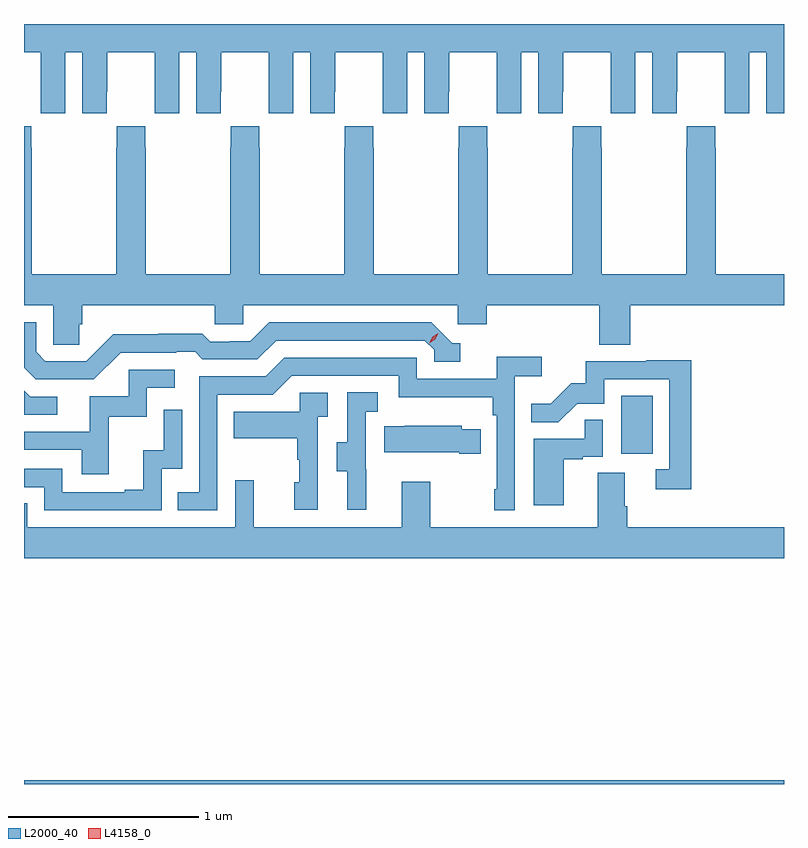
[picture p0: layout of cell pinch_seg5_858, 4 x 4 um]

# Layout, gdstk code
import gdstk
lib = gdstk.Library(unit=1e-6, precision=1e-09)
def R(c, l, rs):  # rectangles x0, y0, x1, y1
    for r in rs: c.add(gdstk.rectangle(r[:2], r[2:], *l))
def P(c, l, *ps):  # polygons
    for p in ps: c.add(gdstk.Polygon(p, *l))
L2000_40 = (2000, 40)
L4158_0 = (4158, 0)

pinch_seg5_858 = lib.new_cell('pinch_seg5_858')
R(pinch_seg5_858, L2000_40, [(852.638,884.877,856.638,884.896), (855.782,886.614,855.946,886.921)])
P(pinch_seg5_858, L2000_40, [(852.638,888.728),(852.725,888.728),(852.725,888.52),(852.726,888.52),(852.726,888.408),(852.856,888.408),(852.856,888.728),(852.944,888.728),(852.944,888.408),(853.074,888.408),(853.074,888.52),(853.075,888.52),(853.075,888.728),(853.325,888.728),(853.325,888.52),(853.326,888.52),(853.326,888.408),(853.456,888.408),(853.456,888.728),(853.544,888.728),(853.544,888.408),(853.674,888.408),(853.674,888.52),(853.675,888.52),(853.675,888.728),(853.925,888.728),(853.925,888.52),(853.926,888.52),(853.926,888.408),(854.056,888.408),(854.056,888.728),(854.144,888.728),(854.144,888.408),(854.274,888.408),(854.274,888.52),(854.275,888.52),(854.275,888.728),(854.525,888.728),(854.525,888.52),(854.526,888.52),(854.526,888.408),(854.656,888.408),(854.656,888.728),(854.744,888.728),(854.744,888.408),(854.874,888.408),(854.874,888.52),(854.875,888.52),(854.875,888.728),(855.125,888.728),(855.125,888.52),(855.126,888.52),(855.126,888.408),(855.256,888.408),(855.256,888.728),(855.344,888.728),(855.344,888.408),(855.474,888.408),(855.474,888.52),(855.475,888.52),(855.475,888.728),(855.725,888.728),(855.725,888.52),(855.726,888.52),(855.726,888.408),(855.856,888.408),(855.856,888.728),(855.944,888.728),(855.944,888.408),(856.074,888.408),(856.074,888.52),(856.075,888.52),(856.075,888.728),(856.325,888.728),(856.325,888.52),(856.326,888.52),(856.326,888.408),(856.456,888.408),(856.456,888.728),(856.544,888.728),(856.544,888.408),(856.638,888.408),(856.638,888.877),(852.638,888.877)],
  [(852.929,887.298),(852.944,887.298),(852.944,887.396),(853.641,887.396),(853.641,887.298),(853.791,887.298),(853.791,887.396),(854.922,887.396),(854.922,887.298),(855.074,887.298),(855.074,887.396),(855.665,887.396),(855.665,887.188),(855.83,887.188),(855.83,887.396),(856.638,887.396),(856.638,887.56),(856.278,887.56),(856.278,888.227),(856.275,888.227),(856.275,888.34),(856.125,888.34),(856.125,888.227),(856.123,888.227),(856.123,887.56),(855.678,887.56),(855.678,888.227),(855.675,888.227),(855.675,888.34),(855.525,888.34),(855.525,888.227),(855.523,888.227),(855.523,887.56),(855.078,887.56),(855.078,888.227),(855.075,888.227),(855.075,888.34),(854.925,888.34),(854.925,888.227),(854.923,888.227),(854.923,887.56),(854.478,887.56),(854.478,888.227),(854.475,888.227),(854.475,888.34),(854.325,888.34),(854.325,888.227),(854.323,888.227),(854.323,887.56),(853.878,887.56),(853.878,888.227),(853.875,888.227),(853.875,888.34),(853.725,888.34),(853.725,888.227),(853.723,888.227),(853.723,887.56),(853.278,887.56),(853.278,888.227),(853.275,888.227),(853.275,888.34),(853.125,888.34),(853.125,888.227),(853.123,888.227),(853.123,887.56),(852.678,887.56),(852.678,888.227),(852.675,888.227),(852.675,888.34),(852.638,888.34),(852.638,887.396),(852.792,887.396),(852.792,887.188),(852.929,887.188)],
  [(853.146,887.148),(853.439,887.148),(853.439,887.151),(853.538,887.151),(853.577,887.112),(853.866,887.112),(853.965,887.211),(854.748,887.211),(854.796,887.163),(854.796,887.1),(854.935,887.1),(854.935,887.196),(854.892,887.196),(854.781,887.307),(853.928,887.307),(853.829,887.208),(853.722,887.208),(853.722,887.205),(853.619,887.205),(853.577,887.248),(853.344,887.248),(853.344,887.245),(853.108,887.245),(852.966,887.103),(852.75,887.103),(852.702,887.151),(852.702,887.307),(852.638,887.307),(852.638,887.068),(852.699,887.007),(853.005,887.007)],
  [(853.656,886.926),(853.947,886.926),(854.046,887.025),(854.61,887.025),(854.61,886.913),(855.106,886.913),(855.106,886.817),(855.126,886.817),(855.126,886.429),(855.114,886.429),(855.114,886.317),(855.222,886.317),(855.222,887.024),(855.364,887.024),(855.364,887.126),(855.125,887.126),(855.125,887.01),(854.706,887.01),(854.706,887.121),(854.009,887.121),(853.91,887.022),(853.56,887.022),(853.56,886.413),(853.447,886.413),(853.447,886.317),(853.656,886.317)],
  [(856.151,887.108),(855.913,887.108),(855.913,887.103),(855.595,887.103),(855.595,886.986),(855.518,886.986),(855.411,886.879),(855.307,886.879),(855.307,886.78),(855.451,886.78),(855.549,886.878),(855.693,886.878),(855.693,887.007),(856.035,887.007),(856.035,886.533),(855.963,886.533),(855.963,886.428),(856.151,886.428)],
  [(853.085,886.809),(853.284,886.809),(853.284,886.962),(853.432,886.962),(853.432,887.058),(853.188,887.058),(853.188,886.917),(852.983,886.917),(852.983,886.731),(852.638,886.731),(852.638,886.635),(852.941,886.635),(852.941,886.506),(853.085,886.506)],
  [(852.814,886.914),(852.672,886.914),(852.638,886.948),(852.638,886.821),(852.814,886.821)],
  [(854.438,886.533),(854.436,886.533),(854.436,886.837),(854.5,886.837),(854.5,886.94),(854.34,886.94),(854.34,886.677),(854.285,886.677),(854.285,886.522),(854.339,886.522),(854.339,886.32),(854.438,886.32)],
  [(854.184,886.811),(854.236,886.811),(854.236,886.935),(854.088,886.935),(854.088,886.837),(853.741,886.837),(853.741,886.697),(854.076,886.697),(854.076,886.583),(854.086,886.583),(854.086,886.464),(854.06,886.464),(854.06,886.32),(854.184,886.32)],
  [(853.362,886.536),(853.47,886.536),(853.47,886.846),(853.374,886.846),(853.374,886.634),(853.265,886.634),(853.265,886.426),(853.169,886.426),(853.169,886.413),(852.84,886.413),(852.84,886.536),(852.638,886.536),(852.638,886.44),(852.744,886.44),(852.744,886.317),(853.362,886.317)],
  [(855.478,886.587),(855.578,886.587),(855.578,886.599),(855.684,886.599),(855.684,886.793),(855.589,886.793),(855.589,886.695),(855.32,886.695),(855.32,886.344),(855.478,886.344)],
  [(855.041,886.744),(854.943,886.744),(854.943,886.762),(854.641,886.762),(854.641,886.759),(854.533,886.759),(854.533,886.622),(854.93,886.622),(854.93,886.615),(855.041,886.615)],
  [(856.638,886.228),(855.812,886.228),(855.812,886.34),(855.799,886.34),(855.799,886.514),(855.659,886.514),(855.659,886.228),(854.775,886.228),(854.775,886.468),(854.627,886.468),(854.627,886.228),(853.847,886.228),(853.847,886.477),(853.749,886.477),(853.749,886.228),(852.654,886.228),(852.654,886.355),(852.638,886.355),(852.638,886.064),(856.638,886.064)])
P(pinch_seg5_858, L4158_0, [(854.772,887.197),(854.772,887.197),(854.788,887.23),(854.818,887.25),(854.818,887.25),(854.818,887.249),(854.803,887.217),(854.772,887.197)])

lib.write_gds('pinch_seg5_858.gds')
